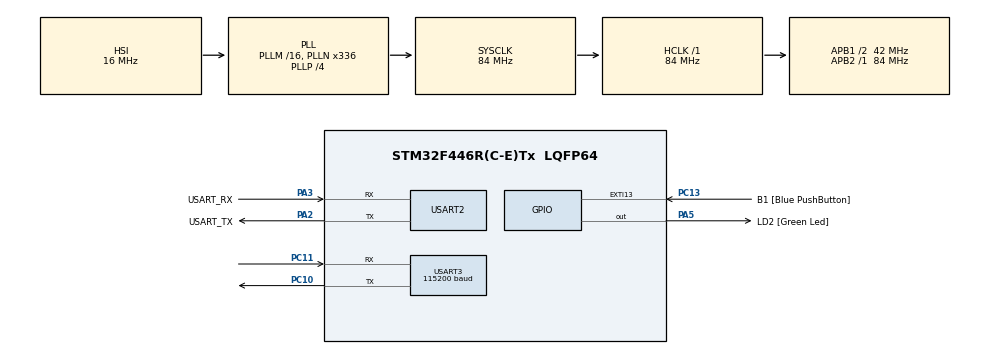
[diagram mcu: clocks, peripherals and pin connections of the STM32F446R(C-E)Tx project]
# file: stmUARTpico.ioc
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Mcu.Family=STM32F4
Mcu.Name=STM32F446R(C-E)Tx
Mcu.Package=LQFP64
NVIC.PriorityGroup=NVIC_PRIORITYGROUP_0
NVIC.USART3_IRQn=true\:0\:0\:false\:false\:true\:true\:true\:true
PA13.GPIO_Label=TMS
PA13.Mode=Serial_Wire
PA13.Signal=SYS_JTMS-SWDIO
PA14.GPIO_Label=TCK
PA14.Mode=Serial_Wire
PA14.Signal=SYS_JTCK-SWCLK
PA2.GPIO_Label=USART_TX
PA2.Mode=Asynchronous
PA2.Signal=USART2_TX
PA3.GPIO_Label=USART_RX
PA3.Mode=Asynchronous
PA3.Signal=USART2_RX
PA5.GPIO_Label=LD2 [Green Led]
PA5.Signal=GPIO_Output
PB3.GPIO_Label=SWO
PB3.Signal=SYS_JTDO-SWO
PC10.Mode=Asynchronous
PC10.Signal=USART3_TX
PC11.Mode=Asynchronous
PC11.Signal=USART3_RX
PC13.GPIO_Label=B1 [Blue PushButton]
PC13.GPIO_ModeDefaultEXTI=GPIO_MODE_IT_FALLING
PC13.Signal=GPXTI13
PC14-OSC32_IN.Mode=LSE-External-Oscillator
PC14-OSC32_IN.Signal=RCC_OSC32_IN
PC15-OSC32_OUT.Mode=LSE-External-Oscillator
PC15-OSC32_OUT.Signal=RCC_OSC32_OUT
PH0-OSC_IN.Mode=HSE-External-Oscillator
PH0-OSC_IN.Signal=RCC_OSC_IN
PH1-OSC_OUT.Mode=HSE-External-Oscillator
PH1-OSC_OUT.Signal=RCC_OSC_OUT
ProjectManager.HeapSize=0x200
ProjectManager.StackSize=0x400
ProjectManager.TargetToolchain=STM32CubeIDE
RCC.48MHZClocksFreq_Value=84000000
RCC.AHBFreq_Value=84000000
RCC.APB1CLKDivider=RCC_HCLK_DIV2
RCC.APB1Freq_Value=42000000
RCC.APB1TimFreq_Value=84000000
RCC.APB2Freq_Value=84000000
RCC.APB2TimFreq_Value=84000000
RCC.CortexFreq_Value=84000000
RCC.FLatency-AdvancedSettings=FLASH_LATENCY_2
RCC.HCLKFreq_Value=84000000
RCC.HSE_VALUE=8000000
RCC.HSI_VALUE=16000000
RCC.PLLN=336
RCC.PLLP=RCC_PLLP_DIV4
RCC.SYSCLKFreq_VALUE=84000000
RCC.SYSCLKSource=RCC_SYSCLKSOURCE_PLLCLK
RCC.USBFreq_Value=168000000
RCC.VCOOutputFreq_Value=336000000
USART2.VirtualMode=VM_ASYNC
USART3.BaudRate=115200
USART3.VirtualMode=VM_ASYNC
board=NUCLEO-F446RE

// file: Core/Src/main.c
/* USER CODE BEGIN Header */
/**
  ******************************************************************************
  * @file           : main.c
  * @brief          : Main program body
  ******************************************************************************
  * @attention
  *
  * Copyright (c) 2026 STMicroelectronics.
  * All rights reserved.
  *
  * This software is licensed under terms that can be found in the LICENSE file
  * in the root directory of this software component.
  * If no LICENSE file comes with this software, it is provided AS-IS.
  *
  ******************************************************************************
  */
/* USER CODE END Header */
#include "main.h"

UART_HandleTypeDef huart2;
UART_HandleTypeDef huart3;

/* USER CODE BEGIN PV */
uint8_t rx_data;
volatile uint8_t received_data;

volatile uint8_t command = 'S';
uint32_t cmd_time = 0;

char tx_buffer [32];
/* USER CODE END PV */

void SystemClock_Config(void);
static void MX_GPIO_Init(void);
static void MX_USART2_UART_Init(void);
static void MX_USART3_UART_Init(void);

int main(void)
{

  /* MCU Configuration--------------------------------------------------------*/

  /* Reset of all peripherals, Initializes the Flash interface and the Systick. */
  HAL_Init();

  /* Configure the system clock */
  SystemClock_Config();

  /* Initialize all configured peripherals */
  MX_GPIO_Init();
  MX_USART2_UART_Init();
  MX_USART3_UART_Init();
  /* USER CODE BEGIN 2 */
  HAL_UART_Receive_IT(&huart3,&rx_data, 1);
  /* USER CODE END 2 */

  /* Infinite loop */
  /* USER CODE BEGIN WHILE */
  while (1)
  {
	  if(received_data) {
		  received_data = 0;

		  switch(command) {

		  case 'F':
			  // motor_forward
			  break;
		  case 'L':
			  // motor_left
			  break;
		  case 'R':
			  // motor_right
			  break;
		  case 'B':
			  // motor_backward
			  break;
		  case 'S':
			  //stop
			  break;
		  case 'V':
			  //full speed
			  break;
		  }
	  }

	  if ((HAL_GetTick() - cmd_time) > 300) {
			  command = 'S';
	  }

	  if ((HAL_GetTick() - last_send))
    /* USER CODE END WHILE */

  }
}

void SystemClock_Config(void)
{
  RCC_OscInitTypeDef RCC_OscInitStruct = {0};
  RCC_ClkInitTypeDef RCC_ClkInitStruct = {0};

  /** Configure the main internal regulator output voltage
  */
  __HAL_RCC_PWR_CLK_ENABLE();
  __HAL_PWR_VOLTAGESCALING_CONFIG(PWR_REGULATOR_VOLTAGE_SCALE3);

  /** Initializes the RCC Oscillators according to the specified parameters
  * in the RCC_OscInitTypeDef structure.
  */
  RCC_OscInitStruct.OscillatorType = RCC_OSCILLATORTYPE_HSI;
  RCC_OscInitStruct.HSIState = RCC_HSI_ON;
  RCC_OscInitStruct.HSICalibrationValue = RCC_HSICALIBRATION_DEFAULT;
  RCC_OscInitStruct.PLL.PLLState = RCC_PLL_ON;
  RCC_OscInitStruct.PLL.PLLSource = RCC_PLLSOURCE_HSI;
  RCC_OscInitStruct.PLL.PLLM = 16;
  RCC_OscInitStruct.PLL.PLLN = 336;
  RCC_OscInitStruct.PLL.PLLP = RCC_PLLP_DIV4;
  RCC_OscInitStruct.PLL.PLLQ = 2;
  RCC_OscInitStruct.PLL.PLLR = 2;
  if (HAL_RCC_OscConfig(&RCC_OscInitStruct) != HAL_OK)
  {
    Error_Handler();
  }

  /** Initializes the CPU, AHB and APB buses clocks
  */
  RCC_ClkInitStruct.ClockType = RCC_CLOCKTYPE_HCLK|RCC_CLOCKTYPE_SYSCLK
                              |RCC_CLOCKTYPE_PCLK1|RCC_CLOCKTYPE_PCLK2;
  RCC_ClkInitStruct.SYSCLKSource = RCC_SYSCLKSOURCE_PLLCLK;
  RCC_ClkInitStruct.AHBCLKDivider = RCC_SYSCLK_DIV1;
  RCC_ClkInitStruct.APB1CLKDivider = RCC_HCLK_DIV2;
  RCC_ClkInitStruct.APB2CLKDivider = RCC_HCLK_DIV1;

  if (HAL_RCC_ClockConfig(&RCC_ClkInitStruct, FLASH_LATENCY_2) != HAL_OK)
  {
    Error_Handler();
  }
}

static void MX_USART2_UART_Init(void)
{

  huart2.Instance = USART2;
  huart2.Init.BaudRate = 115200;
  huart2.Init.WordLength = UART_WORDLENGTH_8B;
  huart2.Init.StopBits = UART_STOPBITS_1;
  huart2.Init.Parity = UART_PARITY_NONE;
  huart2.Init.Mode = UART_MODE_TX_RX;
  huart2.Init.HwFlowCtl = UART_HWCONTROL_NONE;
  huart2.Init.OverSampling = UART_OVERSAMPLING_16;
  if (HAL_UART_Init(&huart2) != HAL_OK)
  {
    Error_Handler();
  }

}

static void MX_USART3_UART_Init(void)
{

  huart3.Instance = USART3;
  huart3.Init.BaudRate = 115200;
  huart3.Init.WordLength = UART_WORDLENGTH_8B;
  huart3.Init.StopBits = UART_STOPBITS_1;
  huart3.Init.Parity = UART_PARITY_NONE;
  huart3.Init.Mode = UART_MODE_TX_RX;
  huart3.Init.HwFlowCtl = UART_HWCONTROL_NONE;
  huart3.Init.OverSampling = UART_OVERSAMPLING_16;
  if (HAL_UART_Init(&huart3) != HAL_OK)
  {
    Error_Handler();
  }

}

static void MX_GPIO_Init(void)
{
  GPIO_InitTypeDef GPIO_InitStruct = {0};

  /* GPIO Ports Clock Enable */
  __HAL_RCC_GPIOC_CLK_ENABLE();
  __HAL_RCC_GPIOH_CLK_ENABLE();
  __HAL_RCC_GPIOA_CLK_ENABLE();
  __HAL_RCC_GPIOB_CLK_ENABLE();

  /*Configure GPIO pin Output Level */
  HAL_GPIO_WritePin(LD2_GPIO_Port, LD2_Pin, GPIO_PIN_RESET);

  /*Configure GPIO pin : B1_Pin */
  GPIO_InitStruct.Pin = B1_Pin;
  GPIO_InitStruct.Mode = GPIO_MODE_IT_FALLING;
  GPIO_InitStruct.Pull = GPIO_NOPULL;
  HAL_GPIO_Init(B1_GPIO_Port, &GPIO_InitStruct);

  /*Configure GPIO pin : LD2_Pin */
  GPIO_InitStruct.Pin = LD2_Pin;
  GPIO_InitStruct.Mode = GPIO_MODE_OUTPUT_PP;
  GPIO_InitStruct.Pull = GPIO_NOPULL;
  GPIO_InitStruct.Speed = GPIO_SPEED_FREQ_LOW;
  HAL_GPIO_Init(LD2_GPIO_Port, &GPIO_InitStruct);

}

/* USER CODE BEGIN 4 */
void HAL_UART_RxCpltCallback (UART_HandleTypeDef *huart)
{
	if (huart -> Instance == USART3) {
		HAL_UART_Transmit(&huart2, &rx_data, 1, 10);
		received_data = 1;

		cmd_time = HAL_GetTick();
		HAL_UART_Receive_IT(&huart3, &rx_data, 1);
		command = rx_data;

		// ensure connection
		HAL_GPIO_TogglePin(GPIOA, GPIO_PIN_5);
	}
}
/* USER CODE END 4 */

void Error_Handler(void)
{
  __disable_irq();
  while (1)
  {
  }
}
